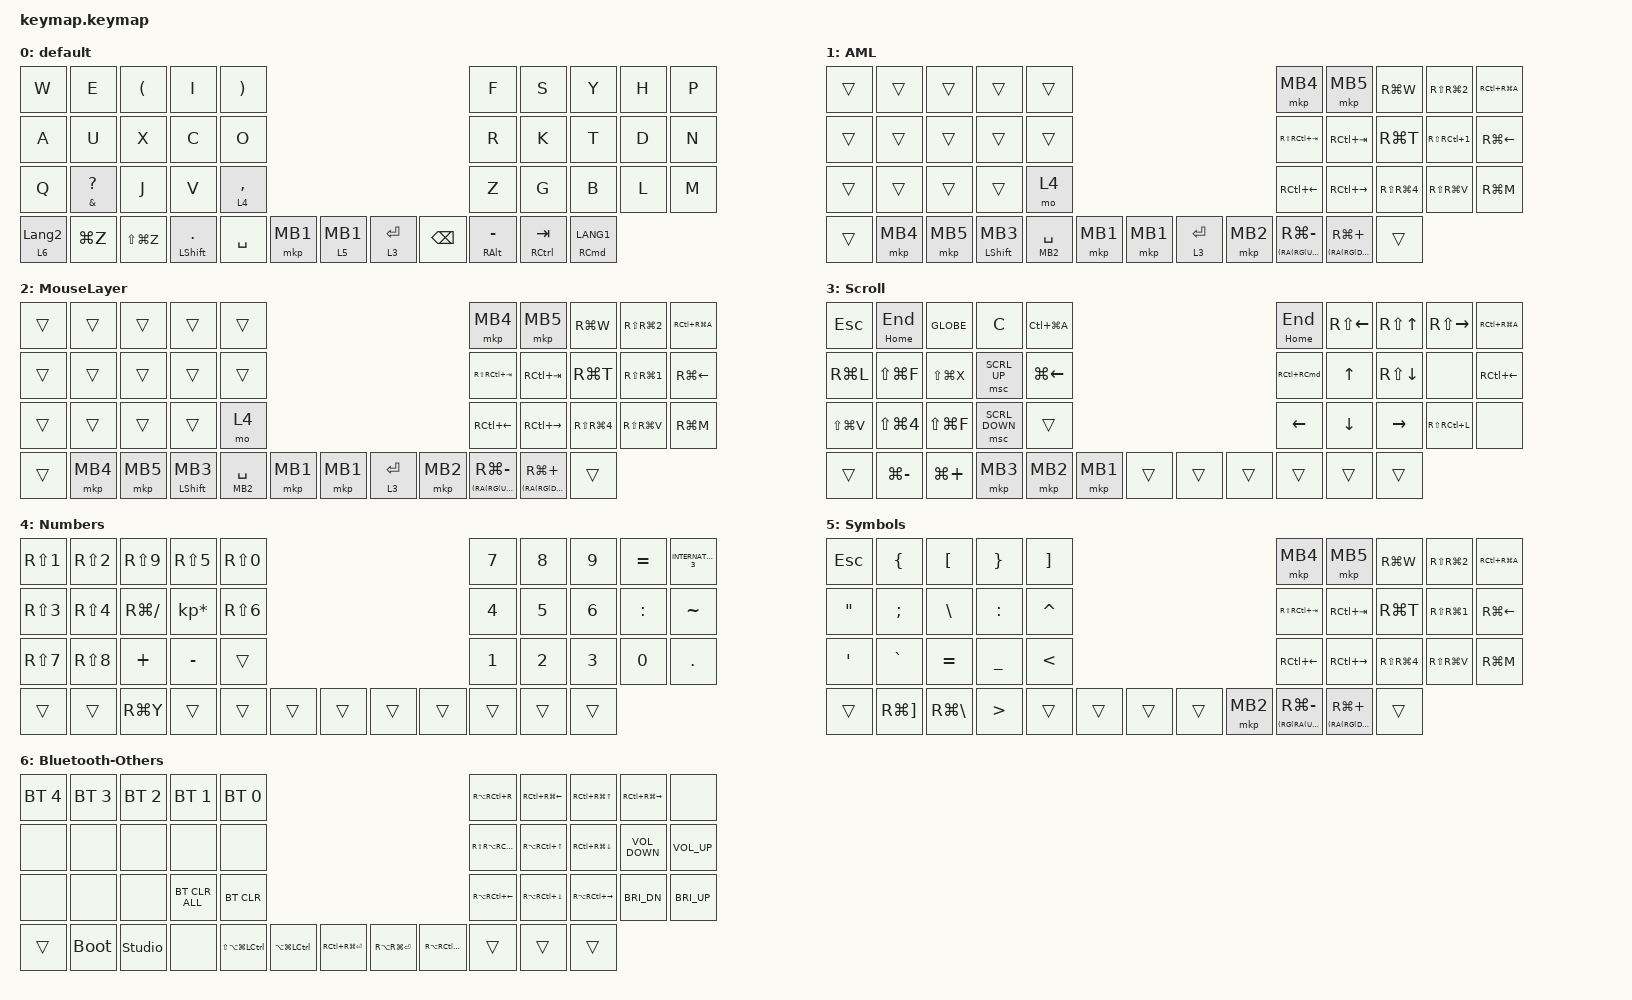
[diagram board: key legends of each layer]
#include <behaviors.dtsi>
#include <dt-bindings/zmk/bt.h>
#include <dt-bindings/zmk/keys.h>
#include <dt-bindings/zmk/pointing.h>

/ {
    behaviors {
        mouse_layer: mouse_layer {
            compatible = "zmk,behavior-hold-tap";
            label = "MOUSE_LAYER";
            bindings = <&mo>, <&mkp>;

            #binding-cells = <2>;
            tapping-term-ms = <180>;
        };

        mousekp_kp: mousekp_kp {
            compatible = "zmk,behavior-hold-tap";
            label = "MOUSEKP_KP";
            bindings = <&mkp>, <&kp>;

            #binding-cells = <2>;
            tapping-term-ms = <180>;
        };

        kp_mousekp: kp_mousekp {
            compatible = "zmk,behavior-hold-tap";
            label = "KP_MOUSEKP";
            bindings = <&kp>, <&mkp>;

            #binding-cells = <2>;
            tapping-term-ms = <180>;
        };
    };

    combos {
        compatible = "zmk,combos";

        Reset-Layer {
            bindings = <&to 0>;
            key-positions = <5 6>;
        };

        Layer2 {
            bindings = <&tog 2>;
            key-positions = <15 16>;
        };

        Layer3 {
            bindings = <&tog 3>;
            key-positions = <25 26>;
        };

        Layer4 {
            bindings = <&tog 4>;
            key-positions = <6 7>;
        };

        Layer5 {
            bindings = <&tog 5>;
            key-positions = <16 17>;
        };

        Layer6 {
            bindings = <&tog 6>;
            key-positions = <26 27>;
        };

        MouseButton3 {
            bindings = <&mkp MB3>;
            key-positions = <36 38>;
        };

        Reload {
            bindings = <&kp RG(R)>;
            key-positions = <40 39 41>;
        };

        BackSpace {
            bindings = <&kp BACKSPACE>;
            key-positions = <15 38>;
        };

        Delete {
            bindings = <&kp DELETE>;
            key-positions = <25 38>;
        };
    };

    keymap {
        compatible = "zmk,keymap";

        default {
            bindings = <
&kp W             &kp E                   &kp LEFT_PARENTHESIS  &kp I  &kp RIGHT_PARENTHESIS                                                                                              &kp F  &kp S  &kp Y                &kp H                  &kp P
&kp A             &kp U                   &kp X                 &kp C  &kp O                                                                                                              &kp R  &kp K  &kp T                &kp D                  &kp N
&kp Q             &mt AMPERSAND QUESTION  &kp J                 &kp V  &lt 4 COMMA                                                                                                        &kp Z  &kp G  &kp B                &kp L                  &kp M
&lt 6 LANGUAGE_2  &kp LG(Z)               &kp LS(LG(Z))                                       &mt LEFT_SHIFT PERIOD  &kp SPACE  &mkp MB1  &mouse_layer 5 MB1  &lt 3 ENTER  &kp BACKSPACE                &mt RIGHT_ALT MINUS  &mt RIGHT_CONTROL TAB  &mt RIGHT_COMMAND LANG1
            >;
        };

        AML {
            bindings = <
&trans  &trans    &trans    &trans  &trans                                                                                                &mkp MB4            &mkp MB5             &kp RG(W)                         &kp RS(RG(NUMBER_2))               &kp RC(RG(A))
&trans  &trans    &trans    &trans  &trans                                                                                                &kp RS(RC(TAB))     &kp RC(TAB)          &kp RG(T)                         &kp RS(RC(NUMBER_1))               &kp RG(LEFT_ARROW)
&trans  &trans    &trans    &trans  &mo 4                                                                                                 &kp RC(LEFT_ARROW)  &kp RC(RIGHT_ARROW)  &kp RS(RG(NUMBER_4))              &kp RS(RG(V))                      &kp RG(M)
&trans  &mkp MB4  &mkp MB5                  &kp_mousekp LEFT_SHIFT MB3  &mousekp_kp MB2 SPACE  &mkp MB1  &mkp MB1  &lt 3 ENTER  &mkp MB2                                           &mt (RA(RG(UP_ARROW))) RG(MINUS)  &mt (RA(RG(DOWN_ARROW))) RG(PLUS)  &trans
            >;
        };

        MouseLayer {
            bindings = <
&trans  &trans    &trans    &trans  &trans                                                                                                &mkp MB4            &mkp MB5       &kp RG(W)                   &kp RS(RG(NUMBER_2))         &kp RC(RG(A))
&trans  &trans    &trans    &trans  &trans                                                                                                &kp RS(RC(TAB))     &kp RC(TAB)    &kp RG(T)                   &kp RS(RG(NUMBER_1))         &kp RG(LEFT)
&trans  &trans    &trans    &trans  &mo 4                                                                                                 &kp RC(LEFT_ARROW)  &kp RC(RIGHT)  &kp RS(RG(NUMBER_4))        &kp RS(RG(V))                &kp RG(M)
&trans  &mkp MB4  &mkp MB5                  &kp_mousekp LEFT_SHIFT MB3  &mousekp_kp MB2 SPACE  &mkp MB1  &mkp MB1  &lt 3 ENTER  &mkp MB2                                     &mt (RA(RG(UP))) RG(MINUS)  &mt (RA(RG(DOWN))) RG(PLUS)  &trans
            >;
        };

        Scroll {
            bindings = <
&kp ESCAPE     &mt HOME END          &kp GLOBE      &kp C           &kp LC(LG(A))                                                             &mt HOME END           &kp RS(LEFT_ARROW)  &kp RS(UP_ARROW)    &kp RS(RIGHT_ARROW)  &kp RC(RG(A))
&kp RG(L)      &kp LS(LG(F))         &kp LS(LG(X))  &msc SCRL_UP    &kp LG(LEFT_ARROW)                                                        &kp RC(RIGHT_COMMAND)  &kp UP_ARROW        &kp RS(DOWN_ARROW)  &none                &kp RC(LEFT_ARROW)
&kp LS(LG(V))  &kp LS(LG(NUMBER_4))  &kp LS(LG(F))  &msc SCRL_DOWN  &trans                                                                    &kp LEFT_ARROW         &kp DOWN_ARROW      &kp RIGHT_ARROW     &kp RS(RC(L))        &none
&trans         &kp LG(MINUS)         &kp LG(PLUS)                                       &mkp MB3  &mkp MB2  &mkp MB1  &trans  &trans  &trans                                             &trans              &trans               &trans
            >;
        };

        Numbers {
            bindings = <
&kp RS(NUMBER_1)  &kp RS(NUMBER_2)  &kp RS(NUMBER_9)  &kp RS(NUMBER_5)  &kp RS(NUMBER_0)                                                  &kp NUMBER_7  &kp NUMBER_8  &kp NUMBER_9  &kp EQUAL     &kp INTERNATIONAL_3
&kp RS(NUMBER_3)  &kp RS(NUMBER_4)  &kp RG(SLASH)     &kp KP_MULTIPLY   &kp RS(NUMBER_6)                                                  &kp NUMBER_4  &kp N5        &kp NUMBER_6  &kp COLON     &kp TILDE
&kp RS(NUMBER_7)  &kp RS(NUMBER_8)  &kp PLUS          &kp MINUS         &trans                                                            &kp NUMBER_1  &kp NUMBER_2  &kp NUMBER_3  &kp NUMBER_0  &kp DOT
&trans            &trans            &kp RG(Y)                                             &trans  &trans  &trans  &trans  &trans  &trans                              &trans        &trans        &trans
            >;
        };

        Symbols {
            bindings = <
&kp ESCAPE         &kp LEFT_BRACE         &kp LEFT_BRACKET   &kp RIGHT_BRACE  &kp RIGHT_BRACKET                                                              &mkp MB4            &mkp MB5             &kp RG(W)                         &kp RS(RG(NUMBER_2))               &kp RC(RG(A))
&kp DOUBLE_QUOTES  &kp SEMICOLON          &kp BACKSLASH      &kp COLON        &kp CARET                                                                      &kp RS(RC(TAB))     &kp RC(TAB)          &kp RG(T)                         &kp RS(RG(NUMBER_1))               &kp RG(LEFT_ARROW)
&kp SQT            &kp GRAVE              &kp EQUAL          &kp UNDERSCORE   &kp LESS_THAN                                                                  &kp RC(LEFT_ARROW)  &kp RC(RIGHT_ARROW)  &kp RS(RG(NUMBER_4))              &kp RS(RG(V))                      &kp RG(M)
&trans             &kp RG(RIGHT_BRACKET)  &kp RG(BACKSLASH)                                      &kp GREATER_THAN  &trans  &trans  &trans  &trans  &mkp MB2                                           &mt (RG(RA(UP_ARROW))) RG(MINUS)  &mt (RA(RG(DOWN_ARROW))) RG(PLUS)  &trans
            >;
        };

        Bluetooth-Others {
            bindings = <
&bt BT_SEL 4  &bt BT_SEL 3  &bt BT_SEL 2    &bt BT_SEL 1    &bt BT_SEL 0                                                                                                                              &kp RA(RC(R))             &kp RC(RG(LEFT_ARROW))  &kp RC(RG(UP_ARROW))     &kp RC(RG(RIGHT_ARROW))  &none
&none         &none         &none           &none           &none                                                                                                                                     &kp RS(RA(RC(UP_ARROW)))  &kp RA(RC(UP_ARROW))    &kp RC(RG(DOWN_ARROW))   &kp C_VOLUME_DOWN        &kp C_VOLUME_UP
&none         &none         &none           &bt BT_CLR_ALL  &bt BT_CLR                                                                                                                                &kp RA(RC(LEFT_ARROW))    &kp RA(RC(DOWN_ARROW))  &kp RA(RC(RIGHT_ARROW))  &kp C_BRI_DN             &kp C_BRI_UP
&trans        &bootloader   &studio_unlock                                &none  &kp LS(LA(LG(LEFT_CONTROL)))  &kp LA(LG(LEFT_CONTROL))  &kp RC(RG(ENTER))  &kp RA(RG(ENTER))  &kp RA(RC(BACKSPACE))                                                    &trans                   &trans                   &trans
            >;
        };
    };
};
